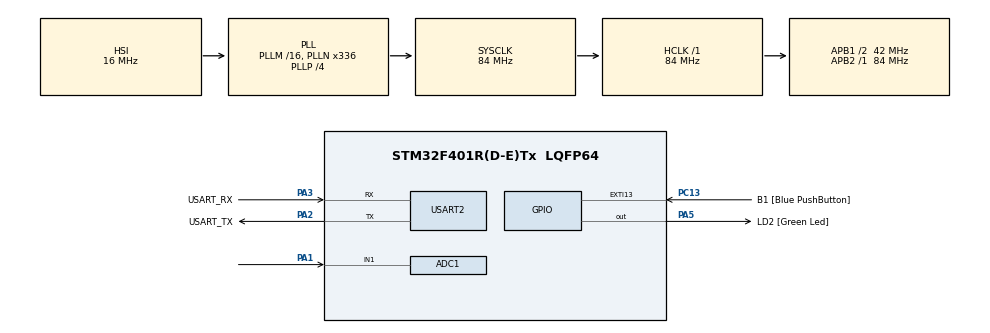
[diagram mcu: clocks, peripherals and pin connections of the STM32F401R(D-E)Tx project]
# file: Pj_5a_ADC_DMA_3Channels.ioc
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ADC1.Channel-0\#ChannelRegularConversion=ADC_CHANNEL_1
ADC1.Channel-1\#ChannelRegularConversion=ADC_CHANNEL_TEMPSENSOR
ADC1.Channel-2\#ChannelRegularConversion=ADC_CHANNEL_VREFINT
ADC1.DMAContinuousRequests=ENABLE
ADC1.EOCSelection=ADC_EOC_SEQ_CONV
ADC1.ExternalTrigConv=ADC_EXTERNALTRIGCONV_T2_TRGO
ADC1.InjNumberOfConversion=0
ADC1.NbrOfConversion=3
ADC1.NbrOfConversionFlag=1
ADC1.Rank-0\#ChannelRegularConversion=1
ADC1.Rank-1\#ChannelRegularConversion=2
ADC1.Rank-2\#ChannelRegularConversion=3
ADC1.SamplingTime-0\#ChannelRegularConversion=ADC_SAMPLETIME_480CYCLES
ADC1.SamplingTime-1\#ChannelRegularConversion=ADC_SAMPLETIME_480CYCLES
ADC1.SamplingTime-2\#ChannelRegularConversion=ADC_SAMPLETIME_480CYCLES
ADC1.ScanConvMode=ENABLE
ADC1.master=1
Dma.ADC1.0.Direction=DMA_PERIPH_TO_MEMORY
Dma.ADC1.0.FIFOMode=DMA_FIFOMODE_DISABLE
Dma.ADC1.0.Instance=DMA2_Stream0
Dma.ADC1.0.MemDataAlignment=DMA_MDATAALIGN_HALFWORD
Dma.ADC1.0.MemInc=DMA_MINC_ENABLE
Dma.ADC1.0.Mode=DMA_CIRCULAR
Dma.ADC1.0.PeriphDataAlignment=DMA_PDATAALIGN_HALFWORD
Dma.ADC1.0.PeriphInc=DMA_PINC_DISABLE
Dma.ADC1.0.Priority=DMA_PRIORITY_HIGH
Dma.Request0=ADC1
Dma.Request1=USART2_TX
Dma.USART2_TX.1.Direction=DMA_MEMORY_TO_PERIPH
Dma.USART2_TX.1.FIFOMode=DMA_FIFOMODE_DISABLE
Dma.USART2_TX.1.Instance=DMA1_Stream6
Dma.USART2_TX.1.MemDataAlignment=DMA_MDATAALIGN_BYTE
Dma.USART2_TX.1.MemInc=DMA_MINC_ENABLE
Dma.USART2_TX.1.Mode=DMA_NORMAL
Dma.USART2_TX.1.PeriphDataAlignment=DMA_PDATAALIGN_BYTE
Dma.USART2_TX.1.PeriphInc=DMA_PINC_DISABLE
Dma.USART2_TX.1.Priority=DMA_PRIORITY_HIGH
Mcu.Family=STM32F4
Mcu.Name=STM32F401R(D-E)Tx
Mcu.Package=LQFP64
NVIC.ADC_IRQn=true\:0\:0\:false\:false\:true\:true\:true\:true
NVIC.DMA1_Stream6_IRQn=true\:0\:0\:false\:false\:true\:false\:true\:true
NVIC.DMA2_Stream0_IRQn=true\:0\:0\:false\:false\:true\:false\:true\:true
NVIC.PriorityGroup=NVIC_PRIORITYGROUP_0
NVIC.USART2_IRQn=true\:0\:0\:false\:false\:true\:true\:true\:true
PA1.Signal=ADCx_IN1
PA13.GPIO_Label=TMS
PA13.Mode=Serial_Wire
PA13.Signal=SYS_JTMS-SWDIO
PA14.GPIO_Label=TCK
PA14.Mode=Serial_Wire
PA14.Signal=SYS_JTCK-SWCLK
PA2.GPIO_Label=USART_TX
PA2.GPIO_Mode=GPIO_MODE_AF_PP
PA2.GPIO_PuPd=GPIO_NOPULL
PA2.GPIO_Speed=GPIO_SPEED_FREQ_LOW
PA2.Mode=Asynchronous
PA2.Signal=USART2_TX
PA3.GPIO_Label=USART_RX
PA3.GPIO_Mode=GPIO_MODE_AF_PP
PA3.GPIO_PuPd=GPIO_NOPULL
PA3.GPIO_Speed=GPIO_SPEED_FREQ_LOW
PA3.Mode=Asynchronous
PA3.Signal=USART2_RX
PA5.GPIO_Label=LD2 [Green Led]
PA5.GPIO_Mode=GPIO_MODE_OUTPUT_PP
PA5.GPIO_PuPd=GPIO_NOPULL
PA5.GPIO_Speed=GPIO_SPEED_FREQ_LOW
PA5.Signal=GPIO_Output
PB3.GPIO_Label=SWO
PB3.Signal=SYS_JTDO-SWO
PC13-ANTI_TAMP.GPIO_Label=B1 [Blue PushButton]
PC13-ANTI_TAMP.GPIO_ModeDefaultEXTI=GPIO_MODE_IT_FALLING
PC13-ANTI_TAMP.GPIO_PuPd=GPIO_NOPULL
PC13-ANTI_TAMP.Signal=GPXTI13
PC14-OSC32_IN.Mode=LSE-External-Oscillator
PC14-OSC32_IN.Signal=RCC_OSC32_IN
PC15-OSC32_OUT.Mode=LSE-External-Oscillator
PC15-OSC32_OUT.Signal=RCC_OSC32_OUT
PH0\ -\ OSC_IN.Mode=HSE-External-Clock-Source
PH0\ -\ OSC_IN.Signal=RCC_OSC_IN
PH1\ -\ OSC_OUT.Mode=HSE-External-Clock-Source
PH1\ -\ OSC_OUT.Signal=RCC_OSC_OUT
ProjectManager.HeapSize=0x200
ProjectManager.StackSize=0x400
ProjectManager.TargetToolchain=STM32CubeIDE
RCC.48MHZClocksFreq_Value=48000000
RCC.AHBFreq_Value=84000000
RCC.APB1CLKDivider=RCC_HCLK_DIV2
RCC.APB1Freq_Value=42000000
RCC.APB1TimFreq_Value=84000000
RCC.APB2Freq_Value=84000000
RCC.APB2TimFreq_Value=84000000
RCC.CortexFreq_Value=84000000
RCC.HCLKFreq_Value=84000000
RCC.HSE_VALUE=8000000
RCC.HSI_VALUE=16000000
RCC.PLLN=336
RCC.PLLP=RCC_PLLP_DIV4
RCC.PLLQ=7
RCC.SYSCLKFreq_VALUE=84000000
RCC.SYSCLKSource=RCC_SYSCLKSOURCE_PLLCLK
RCC.VCOOutputFreq_Value=336000000
SH.ADCx_IN1.0=ADC1_IN1,IN1
TIM2.Period=10000-1
TIM2.Prescaler=8400-1
TIM2.TIM_MasterOutputTrigger=TIM_TRGO_UPDATE
USART2.VirtualMode=VM_ASYNC
VP_ADC1_TempSens_Input.Mode=IN-TempSens
VP_ADC1_Vref_Input.Mode=IN-Vrefint
VP_TIM2_VS_ClockSourceINT.Mode=Internal
board=NUCLEO-F401RE

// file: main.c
/* USER CODE BEGIN Header */
/**
  ******************************************************************************
  * @file           : main.c
  * @brief          : Main program body
  ******************************************************************************
  * @attention
  *
  * Copyright (c) 2024 STMicroelectronics.
  * All rights reserved.
  *
  * This software is licensed under terms that can be found in the LICENSE file
  * in the root directory of this software component.
  * If no LICENSE file comes with this software, it is provided AS-IS.
  *
  ******************************************************************************
  */
/* USER CODE END Header */
#include "main.h"

/* USER CODE BEGIN Includes */
#include "string.h"
#include "stdio.h"

/* USER CODE END Includes */

/* USER CODE BEGIN PD */

#define ACQUISITIONS 3
#define LSB 3.3/4096.0
#define V_25 0.76
#define AVG_SLOPE 0.0025
#define STR_LEN 64

/* USER CODE END PD */

ADC_HandleTypeDef hadc1;
DMA_HandleTypeDef hdma_adc1;

TIM_HandleTypeDef htim2;

UART_HandleTypeDef huart2;
DMA_HandleTypeDef hdma_usart2_tx;

/* USER CODE BEGIN PV */

uint16_t digital_data[ACQUISITIONS];
float analog_voltage[ACQUISITIONS];
float temperature;
char string[STR_LEN];
int length;

/* USER CODE END PV */

void SystemClock_Config(void);
static void MX_GPIO_Init(void);
static void MX_DMA_Init(void);
static void MX_USART2_UART_Init(void);
static void MX_ADC1_Init(void);
static void MX_TIM2_Init(void);

/* USER CODE BEGIN 0 */
void HAL_ADC_ConvCpltCallback (ADC_HandleTypeDef *hadc) {
	if (hadc == &hadc1) {
		for(int i=0; i<ACQUISITIONS; i++){
			analog_voltage[i] = LSB*digital_data[i];
		}
		temperature = (analog_voltage[1] - V_25)/AVG_SLOPE + 25;
		length = snprintf(string, sizeof(string), "Pot: %.3fV, Tmp: %.3f°C, Ref: %.3fV\n", analog_voltage[0], temperature, analog_voltage[2]);
		HAL_UART_Transmit_DMA(&huart2, string, length);
	}
}

/* USER CODE END 0 */

int main(void)
{

  /* MCU Configuration--------------------------------------------------------*/

  /* Reset of all peripherals, Initializes the Flash interface and the Systick. */
  HAL_Init();

  /* Configure the system clock */
  SystemClock_Config();

  /* Initialize all configured peripherals */
  MX_GPIO_Init();
  MX_DMA_Init();
  MX_USART2_UART_Init();
  MX_ADC1_Init();
  MX_TIM2_Init();
  /* USER CODE BEGIN 2 */
  HAL_ADC_Start_DMA(&hadc1, digital_data, ACQUISITIONS);
  HAL_TIM_Base_Start(&htim2);

  /* USER CODE END 2 */

  /* Infinite loop */
  while (1)
  {

  }
}

void SystemClock_Config(void)
{
  RCC_OscInitTypeDef RCC_OscInitStruct = {0};
  RCC_ClkInitTypeDef RCC_ClkInitStruct = {0};

  /** Configure the main internal regulator output voltage
  */
  __HAL_RCC_PWR_CLK_ENABLE();
  __HAL_PWR_VOLTAGESCALING_CONFIG(PWR_REGULATOR_VOLTAGE_SCALE2);

  /** Initializes the RCC Oscillators according to the specified parameters
  * in the RCC_OscInitTypeDef structure.
  */
  RCC_OscInitStruct.OscillatorType = RCC_OSCILLATORTYPE_HSI;
  RCC_OscInitStruct.HSIState = RCC_HSI_ON;
  RCC_OscInitStruct.HSICalibrationValue = RCC_HSICALIBRATION_DEFAULT;
  RCC_OscInitStruct.PLL.PLLState = RCC_PLL_ON;
  RCC_OscInitStruct.PLL.PLLSource = RCC_PLLSOURCE_HSI;
  RCC_OscInitStruct.PLL.PLLM = 16;
  RCC_OscInitStruct.PLL.PLLN = 336;
  RCC_OscInitStruct.PLL.PLLP = RCC_PLLP_DIV4;
  RCC_OscInitStruct.PLL.PLLQ = 7;
  if (HAL_RCC_OscConfig(&RCC_OscInitStruct) != HAL_OK)
  {
    Error_Handler();
  }

  /** Initializes the CPU, AHB and APB buses clocks
  */
  RCC_ClkInitStruct.ClockType = RCC_CLOCKTYPE_HCLK|RCC_CLOCKTYPE_SYSCLK
                              |RCC_CLOCKTYPE_PCLK1|RCC_CLOCKTYPE_PCLK2;
  RCC_ClkInitStruct.SYSCLKSource = RCC_SYSCLKSOURCE_PLLCLK;
  RCC_ClkInitStruct.AHBCLKDivider = RCC_SYSCLK_DIV1;
  RCC_ClkInitStruct.APB1CLKDivider = RCC_HCLK_DIV2;
  RCC_ClkInitStruct.APB2CLKDivider = RCC_HCLK_DIV1;

  if (HAL_RCC_ClockConfig(&RCC_ClkInitStruct, FLASH_LATENCY_2) != HAL_OK)
  {
    Error_Handler();
  }
}

static void MX_ADC1_Init(void)
{

  ADC_ChannelConfTypeDef sConfig = {0};

  /** Configure the global features of the ADC (Clock, Resolution, Data Alignment and number of conversion)
  */
  hadc1.Instance = ADC1;
  hadc1.Init.ClockPrescaler = ADC_CLOCK_SYNC_PCLK_DIV4;
  hadc1.Init.Resolution = ADC_RESOLUTION_12B;
  hadc1.Init.ScanConvMode = ENABLE;
  hadc1.Init.ContinuousConvMode = DISABLE;
  hadc1.Init.DiscontinuousConvMode = DISABLE;
  hadc1.Init.ExternalTrigConvEdge = ADC_EXTERNALTRIGCONVEDGE_RISING;
  hadc1.Init.ExternalTrigConv = ADC_EXTERNALTRIGCONV_T2_TRGO;
  hadc1.Init.DataAlign = ADC_DATAALIGN_RIGHT;
  hadc1.Init.NbrOfConversion = 3;
  hadc1.Init.DMAContinuousRequests = ENABLE;
  hadc1.Init.EOCSelection = ADC_EOC_SEQ_CONV;
  if (HAL_ADC_Init(&hadc1) != HAL_OK)
  {
    Error_Handler();
  }

  /** Configure for the selected ADC regular channel its corresponding rank in the sequencer and its sample time.
  */
  sConfig.Channel = ADC_CHANNEL_1;
  sConfig.Rank = 1;
  sConfig.SamplingTime = ADC_SAMPLETIME_480CYCLES;
  if (HAL_ADC_ConfigChannel(&hadc1, &sConfig) != HAL_OK)
  {
    Error_Handler();
  }

  /** Configure for the selected ADC regular channel its corresponding rank in the sequencer and its sample time.
  */
  sConfig.Channel = ADC_CHANNEL_TEMPSENSOR;
  sConfig.Rank = 2;
  if (HAL_ADC_ConfigChannel(&hadc1, &sConfig) != HAL_OK)
  {
    Error_Handler();
  }

  /** Configure for the selected ADC regular channel its corresponding rank in the sequencer and its sample time.
  */
  sConfig.Channel = ADC_CHANNEL_VREFINT;
  sConfig.Rank = 3;
  if (HAL_ADC_ConfigChannel(&hadc1, &sConfig) != HAL_OK)
  {
    Error_Handler();
  }

}

static void MX_TIM2_Init(void)
{

  TIM_ClockConfigTypeDef sClockSourceConfig = {0};
  TIM_MasterConfigTypeDef sMasterConfig = {0};

  htim2.Instance = TIM2;
  htim2.Init.Prescaler = 8400-1;
  htim2.Init.CounterMode = TIM_COUNTERMODE_UP;
  htim2.Init.Period = 10000-1;
  htim2.Init.ClockDivision = TIM_CLOCKDIVISION_DIV1;
  htim2.Init.AutoReloadPreload = TIM_AUTORELOAD_PRELOAD_DISABLE;
  if (HAL_TIM_Base_Init(&htim2) != HAL_OK)
  {
    Error_Handler();
  }
  sClockSourceConfig.ClockSource = TIM_CLOCKSOURCE_INTERNAL;
  if (HAL_TIM_ConfigClockSource(&htim2, &sClockSourceConfig) != HAL_OK)
  {
    Error_Handler();
  }
  sMasterConfig.MasterOutputTrigger = TIM_TRGO_UPDATE;
  sMasterConfig.MasterSlaveMode = TIM_MASTERSLAVEMODE_DISABLE;
  if (HAL_TIMEx_MasterConfigSynchronization(&htim2, &sMasterConfig) != HAL_OK)
  {
    Error_Handler();
  }

}

static void MX_USART2_UART_Init(void)
{

  huart2.Instance = USART2;
  huart2.Init.BaudRate = 115200;
  huart2.Init.WordLength = UART_WORDLENGTH_8B;
  huart2.Init.StopBits = UART_STOPBITS_1;
  huart2.Init.Parity = UART_PARITY_NONE;
  huart2.Init.Mode = UART_MODE_TX_RX;
  huart2.Init.HwFlowCtl = UART_HWCONTROL_NONE;
  huart2.Init.OverSampling = UART_OVERSAMPLING_16;
  if (HAL_UART_Init(&huart2) != HAL_OK)
  {
    Error_Handler();
  }

}

static void MX_DMA_Init(void)
{

  /* DMA controller clock enable */
  __HAL_RCC_DMA2_CLK_ENABLE();
  __HAL_RCC_DMA1_CLK_ENABLE();

  /* DMA interrupt init */
  /* DMA1_Stream6_IRQn interrupt configuration */
  HAL_NVIC_SetPriority(DMA1_Stream6_IRQn, 0, 0);
  HAL_NVIC_EnableIRQ(DMA1_Stream6_IRQn);
  /* DMA2_Stream0_IRQn interrupt configuration */
  HAL_NVIC_SetPriority(DMA2_Stream0_IRQn, 0, 0);
  HAL_NVIC_EnableIRQ(DMA2_Stream0_IRQn);

}

static void MX_GPIO_Init(void)
{
  GPIO_InitTypeDef GPIO_InitStruct = {0};

  /* GPIO Ports Clock Enable */
  __HAL_RCC_GPIOC_CLK_ENABLE();
  __HAL_RCC_GPIOH_CLK_ENABLE();
  __HAL_RCC_GPIOA_CLK_ENABLE();
  __HAL_RCC_GPIOB_CLK_ENABLE();

  /*Configure GPIO pin Output Level */
  HAL_GPIO_WritePin(LD2_GPIO_Port, LD2_Pin, GPIO_PIN_RESET);

  /*Configure GPIO pin : B1_Pin */
  GPIO_InitStruct.Pin = B1_Pin;
  GPIO_InitStruct.Mode = GPIO_MODE_IT_FALLING;
  GPIO_InitStruct.Pull = GPIO_NOPULL;
  HAL_GPIO_Init(B1_GPIO_Port, &GPIO_InitStruct);

  /*Configure GPIO pin : LD2_Pin */
  GPIO_InitStruct.Pin = LD2_Pin;
  GPIO_InitStruct.Mode = GPIO_MODE_OUTPUT_PP;
  GPIO_InitStruct.Pull = GPIO_NOPULL;
  GPIO_InitStruct.Speed = GPIO_SPEED_FREQ_LOW;
  HAL_GPIO_Init(LD2_GPIO_Port, &GPIO_InitStruct);

}

void Error_Handler(void)
{
  __disable_irq();
  while (1)
  {
  }
}
